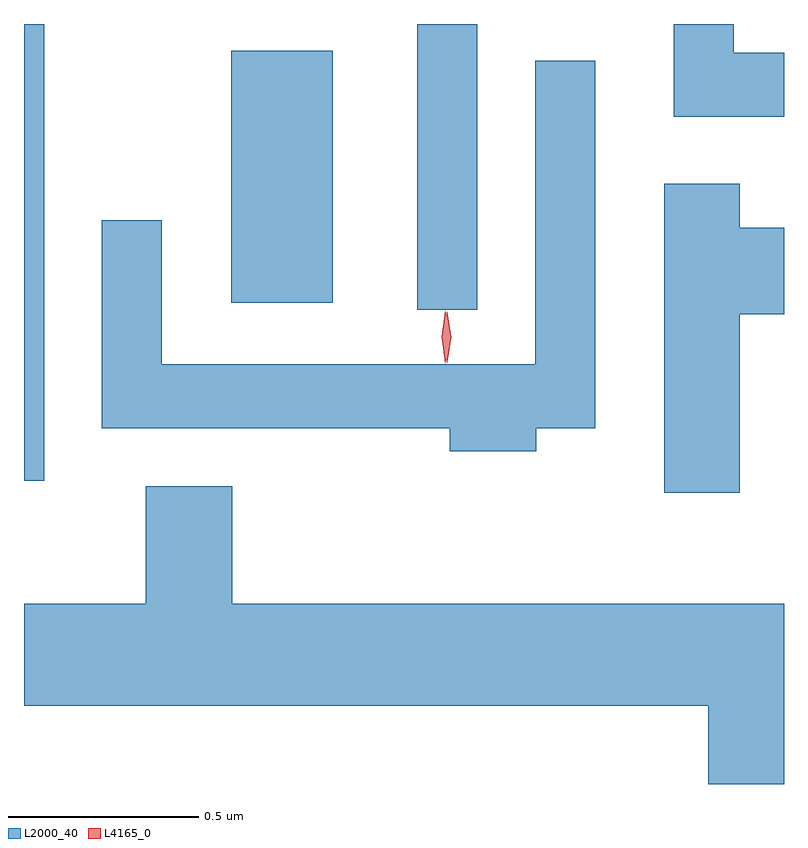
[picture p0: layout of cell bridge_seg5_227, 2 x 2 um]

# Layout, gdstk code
import gdstk
lib = gdstk.Library(unit=1e-6, precision=1e-09)
def R(c, l, rs):  # rectangles x0, y0, x1, y1
    for r in rs: c.add(gdstk.rectangle(r[:2], r[2:], *l))
def P(c, l, *ps):  # polygons
    for p in ps: c.add(gdstk.Polygon(p, *l))
L2000_40 = (2000, 40)
L4165_0 = (4165, 0)

bridge_seg5_227 = lib.new_cell('bridge_seg5_227')
R(bridge_seg5_227, L2000_40, [(1267.371,1419.648,1267.424,1420.85), (1268.406,1420.098,1268.564,1420.85), (1267.916,1420.116,1268.184,1420.779)])
P(bridge_seg5_227, L2000_40, [(1269.371,1420.774),(1269.239,1420.774),(1269.239,1420.85),(1269.081,1420.85),(1269.081,1420.606),(1269.371,1420.606)],
  [(1268.719,1419.786),(1268.874,1419.786),(1268.874,1420.753),(1268.716,1420.753),(1268.716,1419.954),(1267.734,1419.954),(1267.734,1420.333),(1267.576,1420.333),(1267.576,1419.786),(1268.491,1419.786),(1268.491,1419.726),(1268.719,1419.726)],
  [(1269.254,1420.086),(1269.371,1420.086),(1269.371,1420.314),(1269.254,1420.314),(1269.254,1420.429),(1269.056,1420.429),(1269.056,1419.616),(1269.254,1419.616)],
  [(1269.371,1419.324),(1267.919,1419.324),(1267.919,1419.634),(1267.691,1419.634),(1267.691,1419.324),(1267.371,1419.324),(1267.371,1419.056),(1269.171,1419.056),(1269.171,1418.85),(1269.371,1418.85)])
P(bridge_seg5_227, L4165_0, [(1268.479,1419.957),(1268.47,1420.027),(1268.479,1420.096),(1268.48,1420.096),(1268.48,1420.096),(1268.49,1420.027),(1268.48,1419.957),(1268.48,1419.957)],
  [(1268.485,1419.959),(1268.484,1419.96),(1268.475,1420.026),(1268.484,1420.092),(1268.485,1420.093),(1268.485,1420.092),(1268.495,1420.026),(1268.485,1419.96)])

lib.write_gds('bridge_seg5_227.gds')
